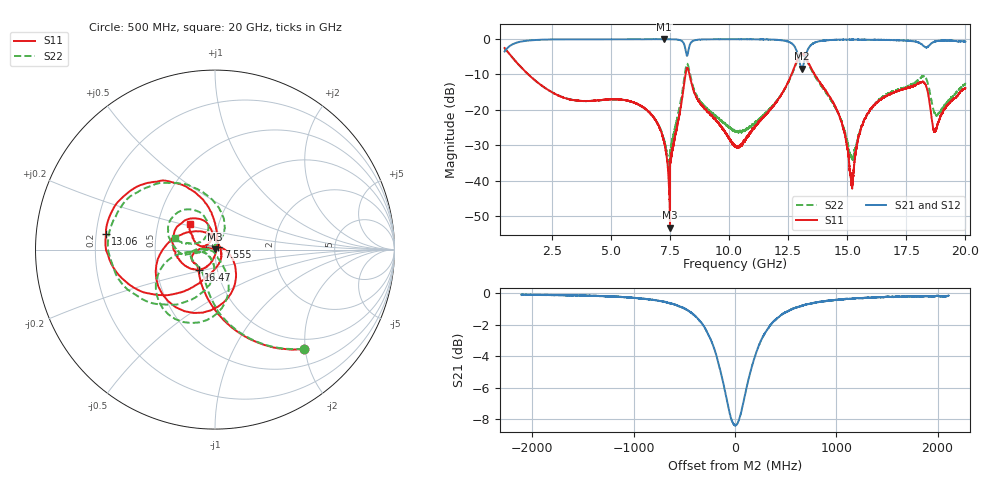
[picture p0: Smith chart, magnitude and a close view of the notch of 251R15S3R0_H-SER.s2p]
!{251R15S3R0}
!Johanson Technology Inc.
!www.johansontechnology.com
!Test Board Conditions:
!Substrate Type  RO4350B
!Substrate Thickness  20 mil
!Substrate Dk  3.66
!TL Type: GCPW
!TL Trace Width  34 mil
!TL Gap  10 mil
!Electrode orientation  Horizontal
!DUT TOPOLOGY	SERIES
!Mounting Pad LxW  26x52 mil
! Created Thu Mar 12 16:39:43 2020
# mhz S ma R 50
! 2 Port Network Data from SP1.SP block
! freq  magS11  angS11  magS21  angS21  magS12  angS12  magS22  angS22
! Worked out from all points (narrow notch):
!   19501 points, 500 MHz to 20 GHz, reference 50 ohm
!   highest |S21| = -0.05 dB at 7.256 GHz (marker M1); lowest = -8.4 dB at 13.07 GHz (marker M2)
!   notch at M2: 8.2 dB deep, 352 MHz wide at half that depth
!   lowest |S11| = -53.2 dB at 7.498 GHz (marker M3), VSWR 1.00, Z = 49.8 + j0.14 ohm
!   |S11| at or under -10 dB: 1.501 GHz to 8.155 GHz (6.654 GHz wide, 138 % of centre); 8.32 GHz to 12.64 GHz (4.324 GHz wide, 41.3 % of centre); 13.62 GHz to end of sweep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
!   |S22| runs from -37.5 to -2.6 dB; largest |S21 - S12| = 0.017
!   S11 on the Smith chart (normalised r, x): 500 MHz: 0.80, -1.97; 7.555 GHz: 1.04, +0.03; 13.06 GHz: 0.24, +0.07; 16.47 GHz: 0.81, -0.18; 20 GHz: 0.73, +0.22
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500  0.7422 -48.3  0.6651 41.5  0.6665 41.5  0.7403 -48.2
1543  0.3066 -94.0  0.9493 -2.3  0.9497 -2.3  0.3067 -90.6
3750  0.1336 -138.4  0.9868 -46.3  0.9875 -46.2  0.1332 -133.0
7000  0.06151 171.6  0.9913 -98.5  0.992 -98.5  0.06212 176.9
7256  0.03497 165.4  0.9938 -103.0  0.9913 -103.0  0.03654 -178.4
7498  0.00218 139.8  0.9903 -107.6  0.9904 -107.6  0.01362 -121.8
7555  0.02146 35.4  0.9889 -108.7  0.9882 -108.8  0.03205 -79.9
8235  0.3882 -132.1  0.588 -110.4  0.5881 -110.2  0.4447 -125.7
8533  0.1728 145.8  0.9527 -112.6  0.9533 -112.6  0.1868 -174.1
10250  0.03096 34.5  0.99 -146.2  0.9891 -146.2  0.05012 -145.8
12287  0.1806 -110.7  0.9505 174.0  0.9537 174.0  0.1786 -97.0
13059  0.6143 172.0  0.3849 167.2  0.3851 166.8  0.5992 179.2
13075  0.6173 168.7  0.3798 171.9  0.3793 171.6  0.5988 175.4
13500  0.3716 113.3  0.8368 -173.4  0.8314 -173.5  0.3569 107.4
14688  0.07768 81.3  0.9762 154.9  0.9731 155.1  0.07887 61.2
15186  0.00909 -5.5  0.9802 145.2  0.9781 145.2  0.02096 122.1
15653  0.06193 -103.1  0.973 136.5  0.9738 137.0  0.06221 -172.9
16466  0.144 -129.5  0.9694 122.0  0.9644 122.2  0.1498 -170.5
16750  0.1642 -138.0  0.9675 117.3  0.9641 116.9  0.1716 -170.7
18238  0.2442 145.5  0.7919 89.7  0.786 89.4  0.2979 142.8
18715  0.05049 142.4  0.9186 92.1  0.9174 92.1  0.08873 125.4
20000  0.2018 133.9  0.9132 63.4  0.9109 63.5  0.2333 163.3
